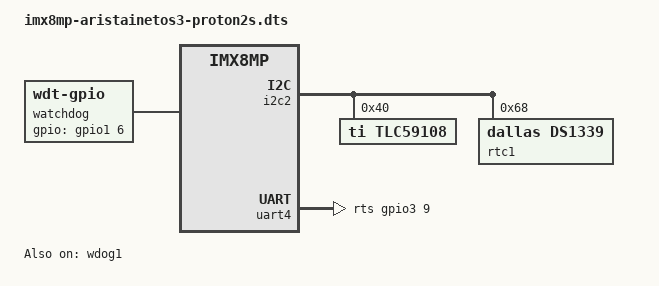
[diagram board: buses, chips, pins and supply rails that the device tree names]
// SPDX-License-Identifier: (GPL-2.0+ OR MIT)
/*
 * Copyright (C) 2024 Heiko Schocher <hs@denx.de>
 */

/dts-v1/;

#include <dt-bindings/gpio/gpio.h>
#include <dt-bindings/leds/common.h>
#include "imx8mp-aristainetos3a-som-v1.dtsi"

&{/} {
	model = "Aristainetos3 proton2s carrier";
	compatible = "abb,imx8mp-aristanetos3-proton2s",
		     "abb,imx8mp-aristanetos3-som",
		     "fsl,imx8mp";

	watchdog {
		/* MAX6371KA */
		compatible = "linux,wdt-gpio";
		pinctrl-names = "default";
		pinctrl-0 = <&pinctrl_watchdog_gpio>;
		always-running;
		gpios = <&gpio1 6 GPIO_ACTIVE_HIGH>;
		hw_algo = "level";
		/* Reset triggers in 3..9 seconds */
		hw_margin_ms = <1500>;
	};
};

&ethphy1 {
	status = "disabled";
};

&eqos {
	max-speed = <100>;
};

&ecspi1 {
	pinctrl-0 = <&pinctrl_ecspi1>;
	cs-gpios = <&gpio5 9 GPIO_ACTIVE_LOW>;
};

&fec {
	status = "disabled";
};

&gpio1 {
	pinctrl-names = "default";
	pinctrl-0 = <&pinctrl_gpio_proton2s>;

	gpio-line-names =
		"", "", "", "", "", "", "", "POWER",
		"", "", "", "", "", "", "", "",
		"", "", "", "", "", "", "", "",
		"", "", "", "", "", "", "", "";
};

&gpio6 {
	gpio-line-names =
		"RELAY0", "RELAY1", "RELAY2", "HEATER",
		"FAN", "SPARE",	"CLEAR", "FAULT",
		"", "", "", "", "", "", "", "", "";
};

&i2c2 {
	tlc59108@40 {
		compatible = "ti,tlc59108";
		reg = <0x40>;
		#address-cells = <1>;
		#size-cells = <0>;

		led@0 {
			reg = <0x0>;
			function = LED_FUNCTION_STATUS;
			color = <LED_COLOR_ID_RED>;
			function-enumerator = <20>;
		};

		led@1 {
			reg = <0x1>;
			function = LED_FUNCTION_STATUS;
			color = <LED_COLOR_ID_GREEN>;
			function-enumerator = <20>;
		};

		led@2 {
			reg = <0x2>;
			function = LED_FUNCTION_STATUS;
			color = <LED_COLOR_ID_GREEN>;
			function-enumerator = <21>;
		};

		led@3 {
			reg = <0x3>;
			function = LED_FUNCTION_STATUS;
			color = <LED_COLOR_ID_RED>;
			function-enumerator = <21>;
		};

		led@4 {
			reg = <0x4>;
			function = LED_FUNCTION_STATUS;
			color = <LED_COLOR_ID_BLUE>;
			function-enumerator = <21>;
		};

		led@5 {
			reg = <0x5>;
			function = LED_FUNCTION_STATUS;
			color = <LED_COLOR_ID_RED>;
			function-enumerator = <22>;
		};

		led@6 {
			reg = <0x6>;
			function = LED_FUNCTION_STATUS;
			color = <LED_COLOR_ID_GREEN>;
			function-enumerator = <22>;
		};

		led@7 {
			reg = <0x7>;
			function = LED_FUNCTION_STATUS;
			color = <LED_COLOR_ID_BLUE>;
			function-enumerator = <22>;
		};
	};

	rtc1: rtc@68 {
		compatible = "dallas,ds1339";
		reg = <0x68>;
	};
};

&uart1 {
	pinctrl-0 = <&pinctrl_uart1>;
};

&uart2 {
	pinctrl-0 = <&pinctrl_uart2>;
};

&uart3 {
	pinctrl-0 = <&pinctrl_uart3>;
};

&uart4 {
	linux,rs485-enabled-at-boot-time;
	rs485-rts-active-low;
	rs485-rts-delay = <0 0>;
	rts-gpios = <&gpio3 9 GPIO_ACTIVE_HIGH>;
};

&usdhc1 {
	status = "disabled";
};

&wdog1 {
	status = "okay";
};
